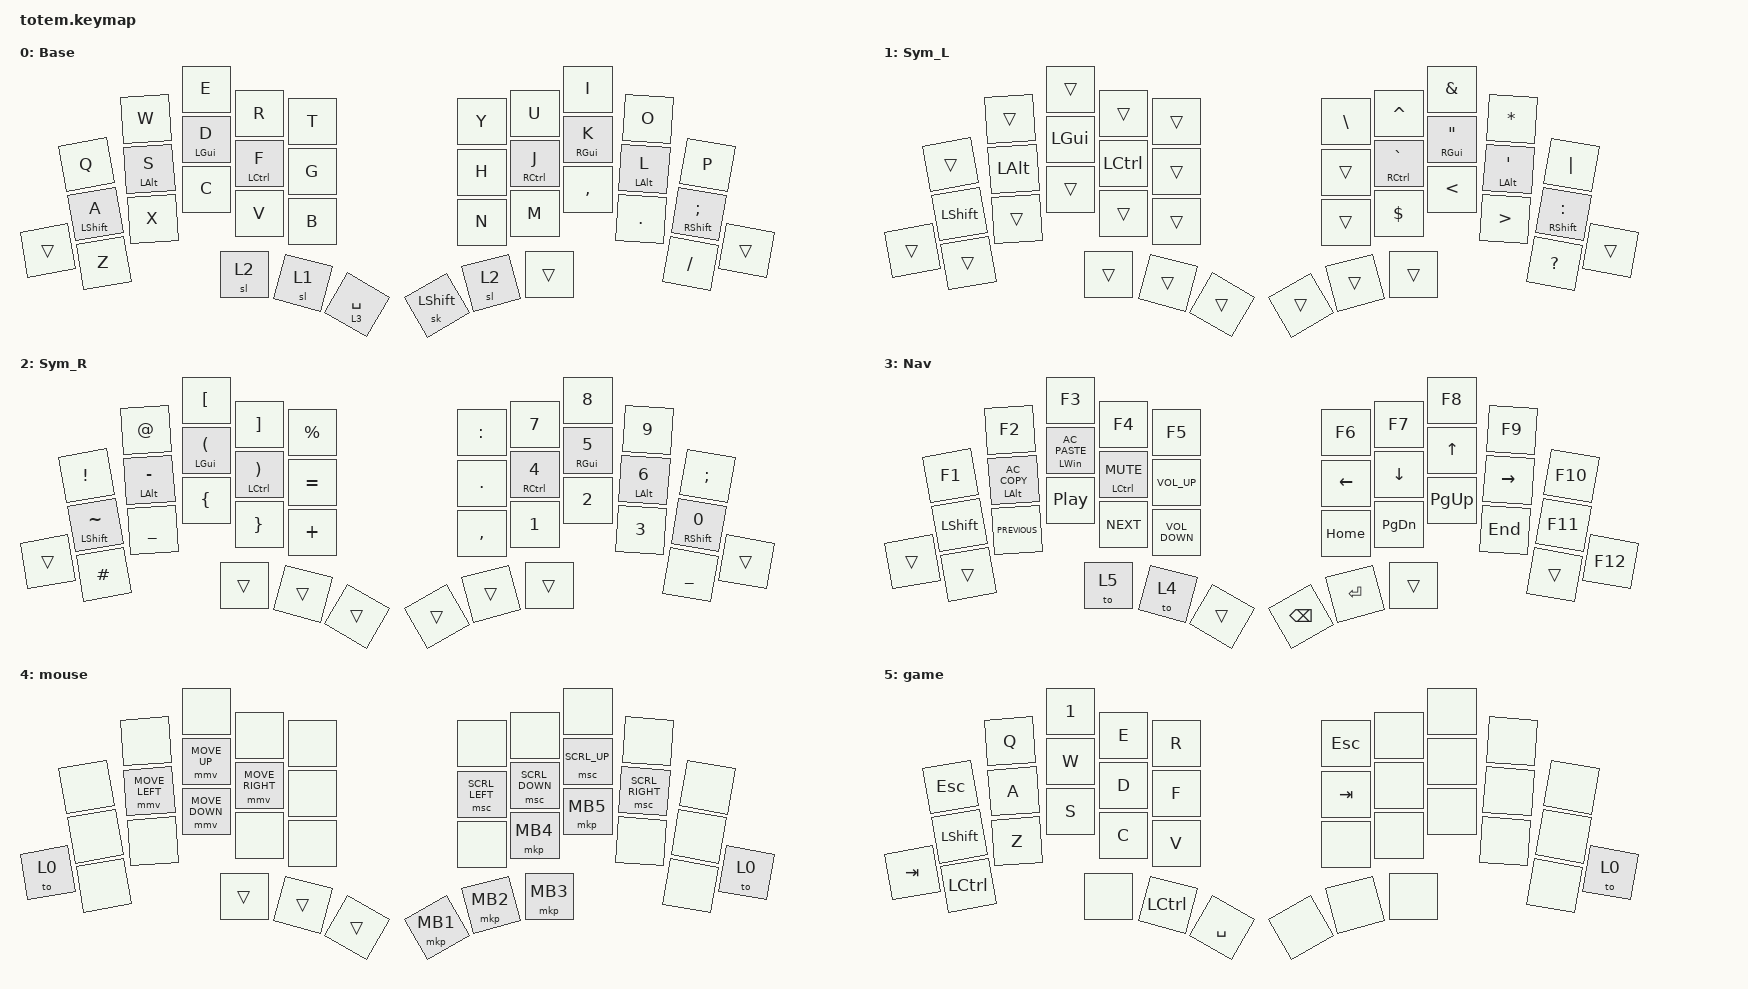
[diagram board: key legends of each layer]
//
//                                                        ▀▀▀▀▀     ▀▀▀▀▀          ▀▀█▀▀
//                                                        ▄▀▀▀▄  ▄  ▄▀▀▀▄  ▄  ▄▀▀▀▄  █  ▄▀▀▀▄
//                                                        █   █  █  █   █  █  █   █  █  █   █
//                                                         ▀▀▀   █   ▀▀▀   █   ▀▀▀   ▀   ▀▀▀
//                                                               █      ▄▄▄█▄▄▄    █   █  
//                                                               ▀      █  █  █     █▄█
//                                                             ▀▀▀▀▀    █  █  █      ▀
//                                                                      ▀  ▀  ▀
//
// ▄▄▄▄▄▄▄▄▄▄▄▄▄▄▄▄▄▄▄▄▄▄▄▄▄▄▄▄▄▄▄▄▄▄▄▄▄▄▄▄▄▄▄▄▄▄▄▄▄▄▄▄▄▄▄▄▄▄▄▄▄▄▄▄▄▄▄▄▄▄▄▄▄▄▄▄▄▄▄▄▄▄▄▄▄▄▄▄▄▄▄▄▄▄▄▄▄▄▄▄▄▄▄▄▄▄▄▄▄▄▄▄▄▄▄▄▄▄▄▄▄▄▄▄▄▄▄▄▄▄▄▄▄▄▄▄▄▄▄▄▄▄▄▄▄▄▄▄▄

#include <behaviors.dtsi>
#include <dt-bindings/zmk/keys.h>
#include <dt-bindings/zmk/pointing.h>

#define Base        0
#define Nav         1
#define Sym         2
#define Fun         3
#define Game        4
#define Gameplus    5

&mt {
    quick-tap-ms = <100>;
    global-quick-tap;
    flavor = "tap-preferred";
    tapping-term-ms = <170>;
};

&lt {
    tapping-term-ms = <240>;
    flavor = "balanced";
    quick-tap-ms = <200>;
};

/ {
    behaviors {
        hml: homerow_mods_left {
            compatible = "zmk,behavior-hold-tap";
            label = "HOMEROW_MODS_LEFT";
            #binding-cells = <2>;
            flavor = "balanced";
            tapping-term-ms = <300>;
            quick-tap-ms = <175>;

            /* require-prior-idle-ms = <150>; */

            bindings = <&kp>, <&kp>;

            hold-trigger-key-positions = <5 6 7 8 9 15 16 17 18 19 26 27 28 29 30 31 32 33 34 35 36 37>;
            hold-trigger-on-release;
        };

        hmr: homerow_mods_right {
            compatible = "zmk,behavior-hold-tap";
            label = "HOMEROW_MODS_RIGHT";
            #binding-cells = <2>;
            flavor = "balanced";
            tapping-term-ms = <300>;
            quick-tap-ms = <175>;

            /* require-prior-idle-ms = <150>; */

            bindings = <&kp>, <&kp>;

            hold-trigger-key-positions = <0 1 2 3 4 10 11 12 13 14 20 21 22 23 24 25 32 33 34 35 36 37>;
            hold-trigger-on-release;
        };
    };

    combos {
        compatible = "zmk,combos";

        caps_word {
            bindings = <&caps_word>;
            key-positions = <19 10>;
            layers = <1 0 3>;
        };

        backspace {
            bindings = <&kp BACKSPACE>;
            key-positions = <17 18>;
        };

        enter {
            bindings = <&kp ENTER>;
            key-positions = <8 7>;
        };

        escape {
            bindings = <&kp ESCAPE>;
            key-positions = <12 11>;
            layers = <0 1 3>;
        };

        tab {
            bindings = <&kp TAB>;
            key-positions = <28 29>;
        };
    };

    keymap {
        compatible = "zmk,keymap";

        Base {
            display-name = "Base";
            bindings = <
        &kp Q              &kp W            &kp E        &kp R                &kp T          &kp Y           &kp U                 &kp I        &kp O            &kp P
        &hml LEFT_SHIFT A  &hml LEFT_ALT S  &hml LGUI D  &hml LEFT_CONTROL F  &kp G          &kp H           &hmr RIGHT_CONTROL J  &hmr RGUI K  &hmr LEFT_ALT L  &hmr RIGHT_SHIFT SEMICOLON
&trans  &kp Z              &kp X            &kp C        &kp V                &kp B          &kp N           &kp M                 &kp COMMA    &kp DOT          &kp SLASH                   &trans
                                            &sl 2        &sl 1                &lt 3 SPACE    &sk LEFT_SHIFT  &sl 2                 &trans
            >;
        };

        Sym_L {
            bindings = <
        &trans          &trans        &trans    &trans            &trans    &kp BACKSLASH  &kp CARET                 &kp AMPERSAND            &kp ASTERISK                &kp PIPE
        &kp LEFT_SHIFT  &kp LEFT_ALT  &kp LGUI  &kp LEFT_CONTROL  &trans    &trans         &hmr RIGHT_CONTROL GRAVE  &hmr RGUI DOUBLE_QUOTES  &hmr LEFT_ALT SINGLE_QUOTE  &hmr RIGHT_SHIFT COLON
&trans  &trans          &trans        &trans    &trans            &trans    &trans         &kp DOLLAR                &kp LESS_THAN            &kp GREATER_THAN            &kp QUESTION            &trans
                                      &trans    &trans            &trans    &trans         &trans                    &trans
            >;
        };

        Sym_R {
            bindings = <
        &kp EXCLAMATION        &kp AT_SIGN          &kp LEFT_BRACKET            &kp RIGHT_BRACKET                    &kp PERCENT    &kp COLON   &kp N7                 &kp N8        &kp N9            &kp SEMICOLON
        &hml LEFT_SHIFT TILDE  &hml LEFT_ALT MINUS  &hml LGUI LEFT_PARENTHESIS  &hml LEFT_CONTROL RIGHT_PARENTHESIS  &kp EQUAL      &kp PERIOD  &hmr RIGHT_CONTROL N4  &hmr RGUI N5  &hmr LEFT_ALT N6  &hmr RIGHT_SHIFT NUMBER_0
&trans  &kp HASH               &kp UNDER            &kp LEFT_BRACE              &kp RIGHT_BRACE                      &kp PLUS       &kp COMMA   &kp N1                 &kp N2        &kp N3            &kp UNDERSCORE             &trans
                                                    &trans                      &trans                               &trans         &trans      &trans                 &trans
            >;
        };

        Nav {
            display-name = "Nav";
            bindings = <
        &kp F1          &kp F2                   &kp F3                    &kp F4                    &kp F5               &kp F6         &kp F7         &kp F8       &kp F9     &kp F10
        &kp LEFT_SHIFT  &hml LEFT_ALT C_AC_COPY  &hml LEFT_WIN C_AC_PASTE  &hml LEFT_CONTROL C_MUTE  &kp C_VOLUME_UP      &kp LEFT       &kp DOWN       &kp UP       &kp RIGHT  &kp F11
&trans  &trans          &kp C_PREVIOUS           &kp C_PP                  &kp C_NEXT                &kp C_VOLUME_DOWN    &kp HOME       &kp PAGE_DOWN  &kp PAGE_UP  &kp END    &trans   &kp F12
                                                 &to 5                     &to 4                     &trans               &kp BACKSPACE  &kp ENTER      &trans
            >;
        };

        mouse {
            bindings = <
       &none  &none           &none           &none            &none     &none           &none           &none         &none            &none
       &none  &mmv MOVE_LEFT  &mmv MOVE_UP    &mmv MOVE_RIGHT  &none     &msc SCRL_LEFT  &msc SCRL_DOWN  &msc SCRL_UP  &msc SCRL_RIGHT  &none
&to 0  &none  &none           &mmv MOVE_DOWN  &none            &none     &none           &mkp MB4        &mkp MB5      &none            &none  &to 0
                              &trans          &trans           &trans    &mkp MB1        &mkp MB2        &mkp MB3
            >;
        };

        game {
            bindings = <
         &kp ESC           &kp Q  &kp N1  &kp E      &kp R        &kp ESC  &none  &none  &none  &none
         &kp LSHFT         &kp A  &kp W   &kp D      &kp F        &kp TAB  &none  &none  &none  &none
&kp TAB  &kp LEFT_CONTROL  &kp Z  &kp S   &kp C      &kp V        &none    &none  &none  &none  &none  &to 0
                                  &none   &kp LCTRL  &kp SPACE    &none    &none  &none
            >;
        };
    };
};
